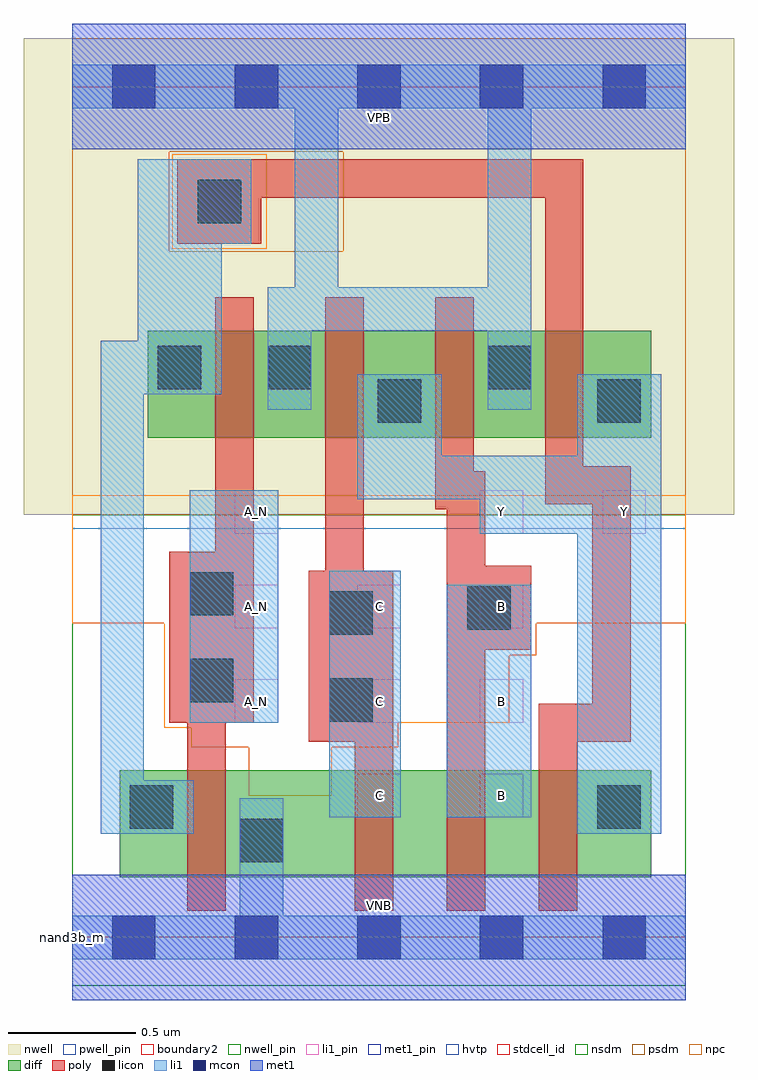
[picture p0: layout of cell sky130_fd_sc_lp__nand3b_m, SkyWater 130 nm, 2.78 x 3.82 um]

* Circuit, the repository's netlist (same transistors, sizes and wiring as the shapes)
* Copyright 2020 The SkyWater PDK Authors
*
* Licensed under the Apache License, Version 2.0 (the "License");
* you may not use this file except in compliance with the License.
* You may obtain a copy of the License at
*
*     https://www.apache.org/licenses/LICENSE-2.0
*
* Unless required by applicable law or agreed to in writing, software
* distributed under the License is distributed on an "AS IS" BASIS,
* WITHOUT WARRANTIES OR CONDITIONS OF ANY KIND, either express or implied.
* See the License for the specific language governing permissions and
* limitations under the License.
*
* SPDX-License-Identifier: Apache-2.0

.SUBCKT sky130_fd_sc_lp__nand3b_m A_N B C VGND VNB VPB VPWR Y
*.PININFO A_N:I B:I C:I VGND:I VNB:I VPB:I VPWR:I Y:O
MMP0 Y A VPWR VPB sky130_fd_pr__pfet_01v8_hvt m=1 w=0.42U l=0.15U mult=1 sa=0.265
+ sb=0.265 sd=0.28 area=0.063 perim=1.14
MMP1 Y B VPWR VPB sky130_fd_pr__pfet_01v8_hvt m=1 w=0.42U l=0.15U mult=1 sa=0.265
+ sb=0.265 sd=0.28 area=0.063 perim=1.14
MMP2 Y C VPWR VPB sky130_fd_pr__pfet_01v8_hvt m=1 w=0.42U l=0.15U mult=1 sa=0.265
+ sb=0.265 sd=0.28 area=0.063 perim=1.14
MMIP0 A A_N VPWR VPB sky130_fd_pr__pfet_01v8_hvt m=1 w=0.42U l=0.15U mult=1 sa=0.265
+ sb=0.265 sd=0.28 area=0.063 perim=1.14
MMN0 Y A sndA VNB sky130_fd_pr__nfet_01v8 m=1 w=0.42U l=0.15U mult=1 sa=0.265 sb=0.265
+ sd=0.28 area=0.063 perim=1.14
MMN1 sndA B sndB VNB sky130_fd_pr__nfet_01v8 m=1 w=0.42U l=0.15U mult=1 sa=0.265
+ sb=0.265 sd=0.28 area=0.063 perim=1.14
MMN2 sndB C VGND VNB sky130_fd_pr__nfet_01v8 m=1 w=0.42U l=0.15U mult=1 sa=0.265
+ sb=0.265 sd=0.28 area=0.063 perim=1.14
MMIN0 A A_N VGND VNB sky130_fd_pr__nfet_01v8 m=1 w=0.42U l=0.15U mult=1 sa=0.265
+ sb=0.265 sd=0.28 area=0.063 perim=1.14
.ENDS sky130_fd_sc_lp__nand3b_m

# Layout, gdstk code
import gdstk
lib = gdstk.Library(unit=1e-6, precision=1e-09)
def R(c, l, rs):  # rectangles x0, y0, x1, y1
    for r in rs: c.add(gdstk.rectangle(r[:2], r[2:], *l))
def A(c, l, x, y, w, h, nx, ny, dx, dy):  # array of equal rectangles
    R(c, l, [(x+i*dx, y+j*dy, x+i*dx+w, y+j*dy+h) for i in range(nx) for j in range(ny)])
def P(c, l, *ps):  # polygons
    for p in ps: c.add(gdstk.Polygon(p, *l))
nwell_pin = (64, 16)
nwell = (64, 20)
diff = (65, 20)
poly = (66, 20)
licon = (66, 44)
li1_pin = (67, 16)
li1 = (67, 20)
mcon = (67, 44)
met1_pin = (68, 16)
met1 = (68, 20)
hvtp = (78, 44)
stdcell_id = (81, 4)
nsdm = (93, 44)
psdm = (94, 20)
npc = (95, 20)
pwell_pin = (122, 16)
boundary2 = (236, 0)

sky130_fd_sc_lp__nand3b_ = lib.new_cell('sky130_fd_sc_lp__nand3b_m')
R(sky130_fd_sc_lp__nand3b_, nwell_pin, [(0,3.085,2.4,3.33)])
R(sky130_fd_sc_lp__nand3b_, nwell, [(-0.19,1.655,2.59,3.52)])
R(sky130_fd_sc_lp__nand3b_, diff, [(0.185,0.235,2.265,0.655), (0.295,1.955,2.265,2.375)])
P(sky130_fd_sc_lp__nand3b_, poly, [(0.71,2.505),(0.56,2.505),(0.56,1.51),(0.38,1.51),(0.38,0.84),(0.45,0.84),(0.45,0.105),(0.6,0.105),(0.6,0.84),(0.71,0.84)],
  [(1.255,1.435),(1.14,1.435),(1.14,2.505),(0.99,2.505),(0.99,1.435),(0.925,1.435),(0.925,0.765),(1.105,0.765),(1.105,0.105),(1.255,0.105)],
  [(1.795,1.455),(1.615,1.455),(1.615,1.825),(1.57,1.825),(1.57,2.505),(1.42,2.505),(1.42,1.675),(1.465,1.675),(1.465,0.105),(1.615,0.105),(1.615,1.125),(1.795,1.125)],
  [(2.185,1.845),(2,1.845),(2,3.045),(0.41,3.045),(0.41,2.715),(0.74,2.715),(0.74,2.895),(1.85,2.895),(1.85,1.695),(2.035,1.695),(2.035,0.915),(1.825,0.915),(1.825,0.105),(1.975,0.105),(1.975,0.765),(2.185,0.765)])
R(sky130_fd_sc_lp__nand3b_, licon, [(0.655,0.295,0.825,0.465), (0.225,0.425,0.395,0.595), (2.055,0.425,2.225,0.595), (1.005,0.845,1.175,1.015), (0.46,0.92,0.63,1.09), (1.005,1.185,1.175,1.355), (1.545,1.205,1.715,1.375), (0.46,1.26,0.63,1.43), (1.195,2.015,1.365,2.185), (2.055,2.015,2.225,2.185), (0.335,2.145,0.505,2.315), (0.765,2.145,0.935,2.315), (1.625,2.145,1.795,2.315), (0.49,2.795,0.66,2.965)])
A(sky130_fd_sc_lp__nand3b_, li1_pin, 0.635, 0.84, 0.17, 0.17, 3, 2, 0.48, 0.37)
R(sky130_fd_sc_lp__nand3b_, li1_pin, [(1.115,0.47,1.285,0.64), (1.595,0.47,1.765,0.64), (0.635,1.58,0.805,1.75), (1.595,1.58,1.765,1.75), (2.075,1.58,2.245,1.75)])
R(sky130_fd_sc_lp__nand3b_, li1, [(1.005,0.47,1.285,1.435), (1.465,0.47,1.795,1.38), (0.46,0.84,0.805,1.75)])
P(sky130_fd_sc_lp__nand3b_, li1, [(2.4,3.415),(1.625,3.415),(1.625,2.545),(1.04,2.545),(1.04,3.245),(1.625,3.245),(1.625,3.415),(0,3.415),(0,3.245),(0.87,3.245),(0.87,2.545),(0.765,2.545),(0.765,2.065),(0.935,2.065),(0.935,2.375),(1.625,2.375),(1.625,2.065),(1.795,2.065),(1.795,3.245),(2.4,3.245)],
  [(0.655,0.085),(0.655,0.545),(0.825,0.545),(0.825,0.085),(2.4,0.085),(2.4,-0.085),(0,-0.085),(0,0.085)],
  [(1.115,1.715),(1.115,2.205),(1.445,2.205),(1.445,1.885),(1.975,1.885),(1.975,2.205),(2.305,2.205),(2.305,0.405),(1.975,0.405),(1.975,1.58),(1.595,1.58),(1.595,1.715)],
  [(0.7,3.045),(0.255,3.045),(0.255,2.335),(0.11,2.335),(0.11,0.405),(0.475,0.405),(0.475,0.615),(0.28,0.615),(0.28,2.125),(0.585,2.125),(0.585,2.715),(0.7,2.715)])
A(sky130_fd_sc_lp__nand3b_, mcon, 0.155, -0.085, 0.17, 0.17, 5, 2, 0.48, 3.33)
R(sky130_fd_sc_lp__nand3b_, met1_pin, [(0,0,2.4,0.245), (0,3.085,2.4,3.33)])
R(sky130_fd_sc_lp__nand3b_, met1, [(0,-0.245,2.4,0.245), (0,3.085,2.4,3.575)])
R(sky130_fd_sc_lp__nand3b_, hvtp, [(0,1.6,2.4,3.33)])
R(sky130_fd_sc_lp__nand3b_, stdcell_id, [(0,0,2.4,3.33)])
R(sky130_fd_sc_lp__nand3b_, nsdm, [(0,-0.19,2.4,1.655)])
P(sky130_fd_sc_lp__nand3b_, psdm, [(2.4,3.52),(0,3.52),(0,2.685),(0.38,2.685),(0.38,3.075),(1.06,3.075),(1.06,2.685),(0,2.685),(0,1.655),(2.4,1.655)])
R(sky130_fd_sc_lp__nand3b_, npc, [(0.39,2.695,0.76,3.065)])
P(sky130_fd_sc_lp__nand3b_, npc, [(2.4,1.73),(0,1.73),(0,1.23),(0.36,1.23),(0.36,0.82),(0.465,0.82),(0.465,0.745),(0.69,0.745),(0.69,0.555),(1.015,0.555),(1.015,0.745),(1.275,0.745),(1.275,0.84),(1.71,0.84),(1.71,1.105),(1.815,1.105),(1.815,1.23),(2.4,1.23)])
R(sky130_fd_sc_lp__nand3b_, pwell_pin, [(0,0,2.4,0.245)])
R(sky130_fd_sc_lp__nand3b_, boundary2, [(0,0,2.4,3.33)])
sky130_fd_sc_lp__nand3b_.add(gdstk.Label('VNB', (1.2,0.123), layer=64, texttype=59))
sky130_fd_sc_lp__nand3b_.add(gdstk.Label('VPB', (1.2,3.208), layer=64, texttype=5))
sky130_fd_sc_lp__nand3b_.add(gdstk.Label('nand3b_m', (0,0), layer=83, texttype=44))
sky130_fd_sc_lp__nand3b_.add(gdstk.Label('VGND', (1.2,0.123), layer=68, texttype=5))
sky130_fd_sc_lp__nand3b_.add(gdstk.Label('VPWR', (1.2,3.208), layer=68, texttype=5))
sky130_fd_sc_lp__nand3b_.add(gdstk.Label('Y', (1.68,1.665), layer=67, texttype=5))
sky130_fd_sc_lp__nand3b_.add(gdstk.Label('Y', (2.16,1.665), layer=67, texttype=5))
sky130_fd_sc_lp__nand3b_.add(gdstk.Label('B', (1.68,0.555), layer=67, texttype=5))
sky130_fd_sc_lp__nand3b_.add(gdstk.Label('B', (1.68,0.925), layer=67, texttype=5))
sky130_fd_sc_lp__nand3b_.add(gdstk.Label('B', (1.68,1.295), layer=67, texttype=5))
sky130_fd_sc_lp__nand3b_.add(gdstk.Label('C', (1.2,0.555), layer=67, texttype=5))
sky130_fd_sc_lp__nand3b_.add(gdstk.Label('C', (1.2,0.925), layer=67, texttype=5))
sky130_fd_sc_lp__nand3b_.add(gdstk.Label('C', (1.2,1.295), layer=67, texttype=5))
sky130_fd_sc_lp__nand3b_.add(gdstk.Label('A_N', (0.72,0.925), layer=67, texttype=5))
sky130_fd_sc_lp__nand3b_.add(gdstk.Label('A_N', (0.72,1.295), layer=67, texttype=5))
sky130_fd_sc_lp__nand3b_.add(gdstk.Label('A_N', (0.72,1.665), layer=67, texttype=5))

lib.write_gds('sky130_fd_sc_lp__nand3b_m.gds')
